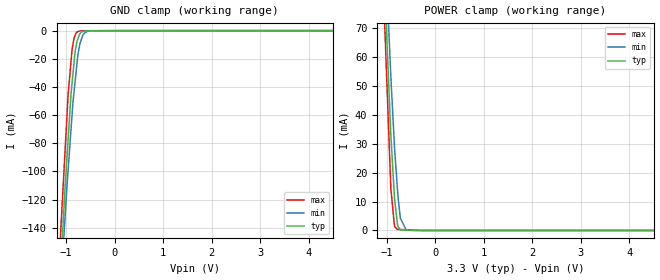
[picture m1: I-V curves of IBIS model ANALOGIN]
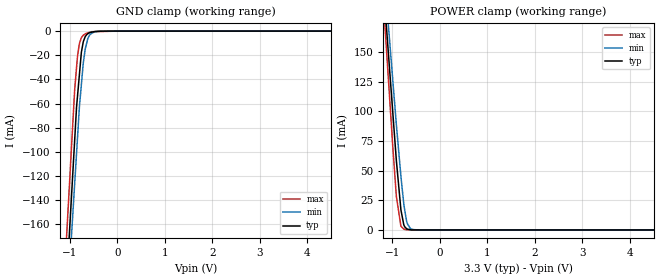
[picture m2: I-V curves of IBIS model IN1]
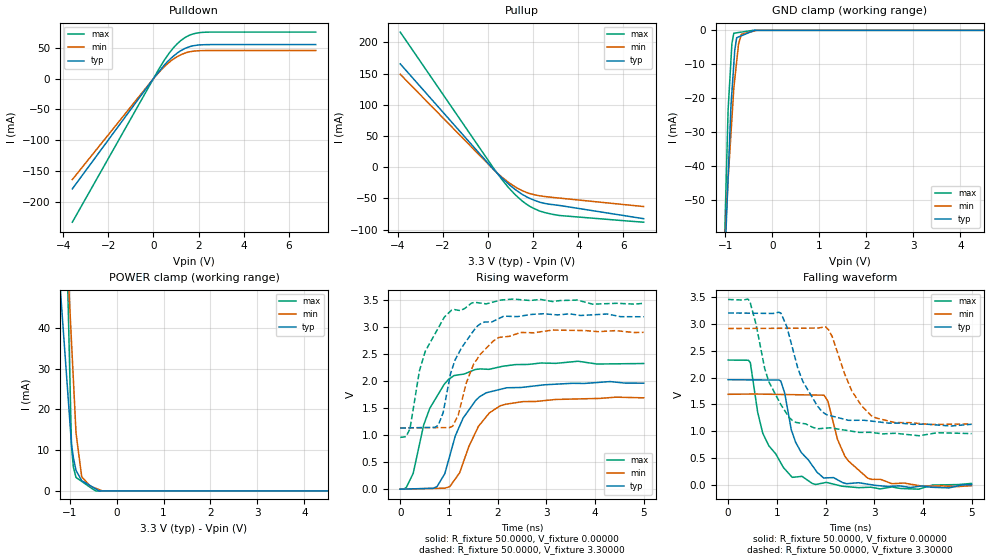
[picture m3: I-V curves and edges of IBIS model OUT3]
[IBIS Ver] 3.2
[File Name] tlv320aic23bpw.ibs
[File Rev] 1.1
[Source]
| This model file was created by Teraspeed Consulting Group LLC
| (http://www.teraspeed.com/).
[Date]  01-08-2007
[Notes] Quality Check of this IBIS model: Model Passes IBIS Check. Model
   parses into ICX IS.
   There are models assigned to analog pins only to facilitate cross
   talk analysis.  These are not to be used for analog simulation.  These
   models are ANALOGIN and ANALOGOUT
[Disclaimer]
| This model is designed as an aid for customers of Texas Instruments.
| TI and its licensors and suppliers make no warranties, either expressed
| or implied, with respect to this  model, including the warranties of
| merchantability or fitness for a particular purpose.
| The model is provided solely on an "as is" basis. The entire risk as to
| its quality and performance is with the customer.
[Copyright]
| (C) Copyright 2008 Texas Instruments Incorporated. All rights reserved.
[Component] TLV320AIC23BPW
[Manufacturer] Texas Instruments
[Package]
| variable   typ   min   max
R_pkg  0.010ohms NA NA
L_pkg  1.582nH   NA NA
C_pkg  0.2611pF   NA NA
[Pin] signal_name  model_name  R_pin  L_pin C_pin
1 BVDD   POWER   0.010   2.016E-09   2.857E-13
2 CLKOUT   OUT3   0.010   1.886E-09   2.805E-13
3 BCLK   BI1   0.010   1.680E-09   2.625E-13
4 DIN   IN1   0.010   1.560E-09   2.564E-13
5 LRCIN   IN1   0.010   1.444E-09   2.500E-13
6 DOUT   OUT1   0.010   1.296E-09   2.500E-13
7 LRCOUT   BI1   0.010   1.190E-09   2.429E-13
8 HPVDD   POWER   0.010   1.190E-09   2.429E-13
9 LHPOUT   ANALOGOUT   0.010   1.296E-09   2.500E-13
10 RHPOUT   ANALOGOUT   0.010   1.444E-09   2.500E-13
11 HPGND   GND   0.010   1.560E-09   2.564E-13
12 LOUT   ANALOGOUT   0.010   1.680E-09   2.625E-13
13 ROUT   ANALOGOUT   0.010   1.886E-09   2.805E-13
14 AVDD   POWER   0.010   2.016E-09   2.857E-13
15 AGND   GND   0.010   2.016E-09   2.857E-13
16 VMID   ANALOGIN   0.010   1.886E-09   2.805E-13
17 MICBIAS  ANALOGIN   0.010   1.680E-09   2.625E-13
18 MICIN   ANALOGIN   0.010   1.560E-09   2.564E-13
19 RLINEIN  ANALOGIN   0.010   1.444E-09   2.500E-13
20 LLINEIN  ANALOGIN   0.010   1.296E-09   2.500E-13
21 _CS   IN1   0.010   1.190E-09   2.429E-13
22 MODE   IN1   0.010   1.190E-09   2.429E-13
23 SDIN   IN1   0.010   1.296E-09   2.500E-13
24 SCLK   IN1   0.010   1.444E-09   2.500E-13
25 XTI/MCLK IN1   0.010   1.560E-09   2.564E-13
26 XTO   OUT2   0.010   1.680E-09   2.625E-13
27 DVDD   POWER   0.010   1.886E-09   2.805E-13
28 DGND   GND   0.010   2.016E-09   2.857E-13
| Models and submodels in the file (7): ANALOGIN (Input), IN1 (Input), OUT3 (Output), OUT1 (Output), BI1 (I/O), ANALOGOUT (Output), OUT2 (Output)
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[Model] ANALOGIN
Model_type Input
Vinl = 800.000mV
Vinh = 2.00000V
C_comp 2.00000pF 2.00000pF 2.00000pF
| variable typ   min   max
[Voltage Range]   3.30000V 3.00000V 3.60000V
[POWER Clamp Reference] 3.30000V 3.00000V 3.60000V
[GND Clamp Reference]   0.00000V 0.00000V 0.00000V
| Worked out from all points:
|   GND clamp passes 1 mA (typ) near -0.68 V on its own axis
|   POWER clamp passes 1 mA (typ) near -0.76 V on its own axis
[GND Clamp]
-3.3V     -1.556A    -1.405A    -1.538A
-1.023V   -110.7mA   -131.7mA   -84.5mA
-961.8mV  -77.81mA   -99.34mA   -45.73mA
-901.1mV  -44.91mA   -70.06mA   -21.66mA
-880.9mV  -37.61mA   -60.32mA   -13.64mA
-861mV    -30.43mA   -50.74mA   -9.608mA
-820.5mV  -15.83mA   -37.32mA   -3.684mA
-780.1mV  -7.721mA   -23.94mA   -1.053mA
-739.5mV  -3.955mA   -13.26mA   -353.1uA
-658.7mV  -558.4uA   -3.284mA   -48.88uA
-451mV    -58.53uA   -19.46uA   5.612uA
6.6V      107.5uA    81.51uA    48.79uA
[POWER Clamp]
-3.3V     989.8mA    960.9mA    1.198A
-1.12V    114mA      130mA      104.9mA
-917.9mV  32.93mA    53.13mA    14.5mA
-842mV    11.12mA    28.68mA    1.41mA
-781.4mV  2.118mA    14.16mA    369.3uA
-761.3mV  1.109mA    10.17mA    355.1uA
-721mV    211.1uA    4.209mA    326.6uA
-599.5mV  140uA      104.8uA    240.5uA
-160.7mV  0A         0A         0A
6.6V      0A         0A         0A
[Model] IN1
Model_type Input
Vinl = 990.000mV
Vinh = 2.31000V
C_comp 2.00000pF 2.00000pF 2.00000pF
| variable typ   min   max
[Voltage Range] 3.30000V 3.00000V 3.60000V
[POWER Clamp Reference] 3.30000V 3.00000V 3.60000V
[GND Clamp Reference] 0.00000V 0.00000V 0.00000V
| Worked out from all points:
|   GND clamp passes 1 mA (typ) near -0.56 V on its own axis
|   POWER clamp passes 1 mA (typ) near -0.70 V on its own axis
[GND Clamp]
-3.3V     -1.759A    -1.66A     -1.764A
-901mV    -90.62mA   -126.6mA   -48.66mA
-861mV    -62.8mA    -101.1mA   -30.04mA
-840.7mV  -53.72mA   -88.09mA   -20.59mA
-800.3mV  -35.64mA   -62.25mA   -10.13mA
-759.8mV  -17.53mA   -44.3mA    -5.411mA
-719.4mV  -8.759mA   -26.39mA   -3.384mA
-658.6mV  -3.496mA   -11.65mA   -1.839mA
-623.3mV  -2.151mA   -5.985mA   -1.416mA
-582.4mV  -1.295mA   -3.055mA   -927.6uA
-350.6mV  -34.48uA   -104.7uA   -277.9uA
6.6V      57.97uA    59.54uA    57.94uA
[POWER Clamp]
-3.3V     1.343A     1.274A     1.496A
-1.18V    200mA      219.3mA    185.8mA
-1.139V   178mA      199mA      160.6mA
-1.099V   156.4mA    179.1mA    135.8mA
-1.039V   123.8mA    149mA      98.37mA
-917.9mV  58.57mA    88.84mA    28.36mA
-821.7mV  16.87mA    45.16mA    3.107mA
-741mV    2.619mA    16.49mA    469.2uA
-700.5mV  1.058mA    6.938mA    158.3uA
-619.5mV  169.7uA    1.121mA    120.8uA
-457.8mV  28.7uA     51.14uA    74.35uA
6.6V      0A         0A         0A
[Model] OUT3
Model_type Output
Vref=0.00000V
Rref=1.00000Gohms
Cref=20.0000pF
Vmeas=1.65000V
C_comp 2.00000pF 2.00000pF 2.00000pF
| variable typ   min   max
[Voltage Range] 3.30000V 3.00000V 3.60000V
[POWER Clamp Reference] 3.30000V 3.00000V 3.60000V
[Pullup Reference] 3.30000V 3.00000V 3.60000V
[Pulldown Reference] 0.00000V 0.00000V 0.00000V
[GND Clamp Reference] 0.00000V 0.00000V 0.00000V
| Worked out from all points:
|   slope of the pulldown table from 0 to 0.495 V, typ, clamps not added: 22.1 ohm
|   slope of the pullup table from 0 to 0.495 V, typ, clamps not added: 25.9 ohm
|   GND clamp passes 1 mA (typ) near -0.55 V on its own axis
|   POWER clamp passes 1 mA (typ) near -0.52 V on its own axis
|   rising waveform, R_fixture 50.0000, V_fixture 0.00000: 20-80 % time 543ps typ, 543ps min, 541ps max; typ from 0 V to 1.97 V
|   falling waveform, R_fixture 50.0000, V_fixture 0.00000: 20-80 % time 512ps typ, 511ps min, 510ps max; typ from 1.96 V to 0.013 V
|   falling waveform, R_fixture 50.0000, V_fixture 3.30000: 20-80 % time 532ps typ, 514ps min, 529ps max; typ from 3.2 V to 1.13 V
|   rising waveform, R_fixture 50.0000, V_fixture 3.30000: 20-80 % time 478ps typ, 477ps min, 495ps max; typ from 1.13 V to 3.2 V
[GND Clamp]
-3.6V     -1.17A     -748.3mA   -1.371A
-1.003V   -64.49mA   -59.98mA   -54.23mA
-941.8mV  -43.34mA   -43.87mA   -23.43mA
-881mV    -22.18mA   -30.42mA   -8.736mA
-860.8mV  -18.09mA   -25.95mA   -3.844mA
-820.5mV  -9.938mA   -17.04mA   -853.1uA
-800.3mV  -5.859mA   -14.44mA   -811.1uA
-759.9mV  -2.183mA   -9.226mA   -727.1uA
-719.4mV  -1.951mA   -4.009mA   -642.9uA
-658.7mV  -1.602mA   -1.133mA   -516.7uA
-329.4mV  0A         0A         0A
7.2V      0A         0A         0A
[Pulldown]
-3.6V     -178.8mA   -163.8mA   -232.9mA
238.5mV   10.93mA    9.835mA    15.35mA
719.2mV   30.77mA    27mA       42.27mA
880.9mV   36.2mA     31.51mA    49.68mA
1.219V    45.35mA    38.72mA    61.86mA
1.422V    49.17mA    41.64mA    67.05mA
1.679V    52.47mA    43.88mA    71.45mA
2.18V     54.78mA    45.35mA    74.93mA
7.2V      55.12mA    45.55mA    75.36mA
[Pullup]
-3.9V     165.5mA    148.8mA    216.4mA
300mV     -5.49mA    -5.77mA    -4.496mA
917.5mV   -27.27mA   -24.61mA   -33.04mA
1.52V     -43.58mA   -37.65mA   -54.3mA
1.817V    -49.35mA   -41.83mA   -61.93mA
2.257V    -55.59mA   -45.53mA   -69.72mA
2.879V    -59.91mA   -48.38mA   -75.5mA
6.9V      -82.37mA   -62.92mA   -87.97mA
[POWER Clamp]
-3.9V     483.1mA    720.2mA    1.742A
-1.201V   50.29mA    92.89mA    128.9mA
-958.3mV  11.4mA     36.54mA    10.94mA
-917.8mV  8.133mA    27.13mA    5.782mA
-862.1mV  5.014mA    14.18mA    3.305mA
-741.1mV  2.525mA    3.47mA     2.334mA
-559.1mV  1.285mA    1.188mA    872.7uA
-442.4mV  489.5uA    651.8uA    0A
-370.6mV  0A         321.8uA    0A
-301mV    0A         2.297uA    0A
6.9V      0A         0A         0A
[Rising Waveform]
R_fixture = 50.0000
V_fixture = 0.00000
V_fixture_min = 0.00000
V_fixture_max = 0.00000
0s        379.2uV    582.9uV    899.3uV
125ps     3.446mV    3.044mV    33.79mV
265ps     6.881mV    5.801mV    291.4mV
480ps     12.16mV    10.03mV    1.187V
755ps     48.17mV    15.45mV    1.724V
915ps     288.9mV    19.78mV    1.958V
1.105ns   907.9mV    159.8mV    2.107V
1.55ns    1.648V     1.062V     2.22V
2.05ns    1.851V     1.546V     2.269V
4.995ns   1.965V     1.694V     2.33V
[Falling Waveform]
R_fixture = 50.0000
V_fixture = 0.00000
V_fixture_min = 0.00000
V_fixture_max = 0.00000
0s        1.959V     1.689V     2.324V
455ps     1.956V     1.694V     2.276V
605ps     1.956V     1.693V     1.359V
710ps     1.955V     1.692V     967.1mV
1.08ns    1.934V     1.686V     418mV
1.315ns   980.7mV    1.683V     149.5mV
1.965ns   137.9mV    1.673V     47.29mV
2.395ns   40.6mV     540.9mV    -19.42mV
2.865ns   23.03mV    133.8mV    -35.41mV
4.995ns   12.72mV    -4.793mV   37.09mV
[Falling Waveform]
R_fixture = 50.0000
V_fixture = 3.30000
V_fixture_min = 3.00000
V_fixture_max = 3.60000
0s        3.197V     2.909V     3.447V
445ps     3.192V     2.91V      3.415V
835ps     3.188V     2.912V     1.922V
1.085ns   3.191V     2.913V     1.493V
1.335ns   2.495V     2.914V     1.191V
1.53ns    1.932V     2.915V     1.149V
2.02ns    1.311V     2.921V     1.063V
2.535ns   1.207V     1.757V     1.004V
2.935ns   1.192V     1.293V     982.1mV
4.995ns   1.133V     1.139V     960.5mV
[Rising Waveform]
R_fixture = 50.0000
V_fixture = 3.30000
V_fixture_min = 3.00000
V_fixture_max = 3.60000
0s        1.133V     1.139V     960.5mV
200ps     1.137V     1.139V     1.121V
395ps     1.141V     1.14V      2.199V
780ps     1.186V     1.14V      2.988V
880ps     1.417V     1.141V     3.15V
1.05ns    2.19V      1.158V     3.318V
1.19ns    2.506V     1.372V     3.318V
1.505ns   2.939V     2.317V     3.46V
2.02ns    3.163V     2.813V     3.497V
4.995ns   3.197V     2.909V     3.447V
[Ramp]
| variable typ min max
dV/dt_r 1.17499/528.096p 1.01293/529.175p 1.39376/523.387p
dV/dt_f 1.23835/526.600p 1.06193/508.081p 1.49166/535.091p
R_load = 50.0000Ohms
